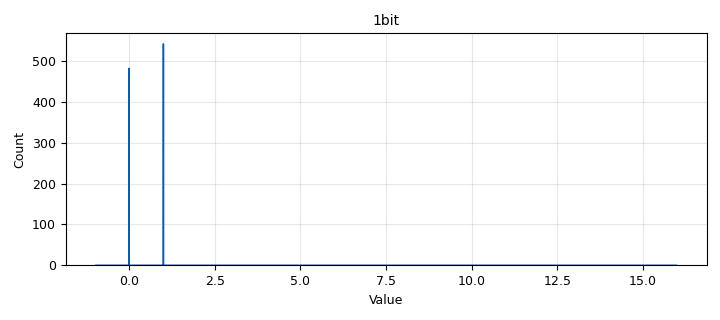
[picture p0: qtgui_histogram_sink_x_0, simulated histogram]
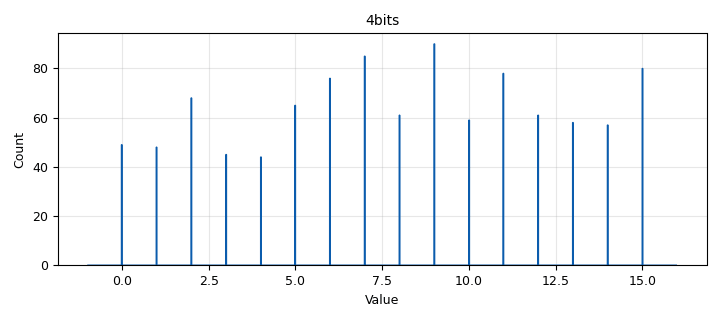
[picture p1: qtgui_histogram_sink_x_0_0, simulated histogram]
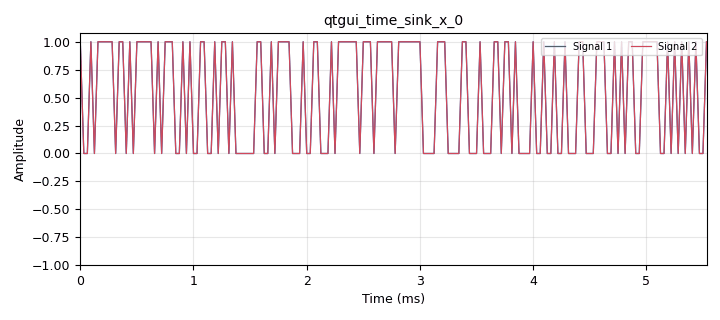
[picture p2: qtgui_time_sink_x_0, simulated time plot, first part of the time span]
options:
  parameters:
    author: btfz
    generate_options: qt_gui
    id: Fundamentals
    output_language: python
    title: Not titled yet
  states: {}

blocks:
- name: samp_rate
  id: variable
  parameters:
    value: '32000'
  states: {}
- name: analog_random_source_x_0
  id: analog_random_source_x
  parameters:
    max: '2'
    min: '0'
    num_samps: '1000'
    repeat: 'True'
    type: byte
  states: {}
- name: blocks_char_to_float_0
  id: blocks_char_to_float
  parameters:
    scale: '1'
  states: {}
- name: blocks_char_to_float_0_0
  id: blocks_char_to_float
  parameters:
    scale: '1'
  states: {}
- name: blocks_char_to_float_0_0_0
  id: blocks_char_to_float
  parameters:
    scale: '1'
  states: {}
- name: blocks_pack_k_bits_bb_0
  id: blocks_pack_k_bits_bb
  parameters:
    k: '4'
  states: {}
- name: blocks_throttle_0
  id: blocks_throttle
  parameters:
    samples_per_second: samp_rate
    type: byte
  states: {}
- name: blocks_unpack_k_bits_bb_0
  id: blocks_unpack_k_bits_bb
  parameters:
    k: '4'
  states: {}
- name: qtgui_histogram_sink_x_0
  id: qtgui_histogram_sink_x
  parameters:
    bins: '1024'
    name: 1bit
    size: '1024'
    type: float
    xmax: '16'
    xmin: '-1'
  states: {}
- name: qtgui_histogram_sink_x_0_0
  id: qtgui_histogram_sink_x
  parameters:
    bins: '1024'
    name: 4bits
    size: '1024'
    type: float
    xmax: '16'
    xmin: '-1'
  states: {}
- name: qtgui_time_sink_x_0
  id: qtgui_time_sink_x
  parameters:
    nconnections: '2'
    size: '1024'
    srate: samp_rate
    type: float
  states: {}

connections:
- [analog_random_source_x_0, '0', blocks_char_to_float_0_0_0, '0']
- [analog_random_source_x_0, '0', blocks_throttle_0, '0']
- [blocks_char_to_float_0, '0', qtgui_histogram_sink_x_0, '0']
- [blocks_char_to_float_0, '0', qtgui_time_sink_x_0, '1']
- [blocks_char_to_float_0_0, '0', qtgui_histogram_sink_x_0_0, '0']
- [blocks_char_to_float_0_0_0, '0', qtgui_time_sink_x_0, '0']
- [blocks_pack_k_bits_bb_0, '0', blocks_char_to_float_0_0, '0']
- [blocks_pack_k_bits_bb_0, '0', blocks_unpack_k_bits_bb_0, '0']
- [blocks_throttle_0, '0', blocks_pack_k_bits_bb_0, '0']
- [blocks_unpack_k_bits_bb_0, '0', blocks_char_to_float_0, '0']

metadata:
  file_format: 1
  grc_version: 3.10.2.0
